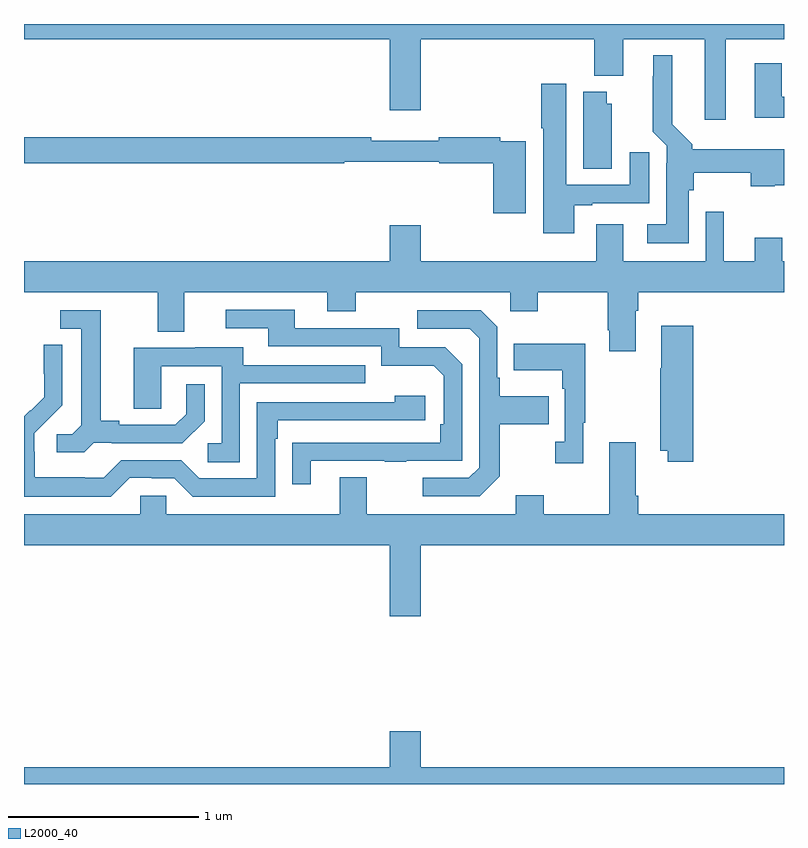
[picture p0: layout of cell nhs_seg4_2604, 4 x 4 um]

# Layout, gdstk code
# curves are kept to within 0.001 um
import gdstk
lib = gdstk.Library(unit=1e-6, precision=1e-09)
def P(c, l, *ps):  # polygons
    for p in ps: c.add(gdstk.Polygon(p, *l))
L2000_40 = (2000, 40)

nhs_seg4_2604 = lib.new_cell('nhs_seg4_2604')
P(nhs_seg4_2604, L2000_40, [(250.693,796.82),(251,796.82),(251,796.9),(247,796.9),(247,796.82),(248.924,796.82),(248.924,796.446),(249.088,796.446),(249.088,796.82),(250.001,796.82),(250.001,796.628),(250.153,796.628),(250.153,796.82),(250.583,796.82),(250.583,796.395),(250.693,796.395)],
  [(250.498,796.026),(250.524,796.026),(250.524,796.118),(250.825,796.118),(250.825,796.046),(250.95,796.046),(250.95,796.052),(251,796.052),(251,796.24),(250.516,796.24),(250.516,796.266),(250.411,796.372),(250.411,796.735),(250.313,796.735),(250.313,796.625),(250.309,796.625),(250.309,796.334),(250.383,796.26),(250.383,796.166),(250.379,796.166),(250.379,795.847),(250.281,795.847),(250.281,795.746),(250.498,795.746)],
  [(251,796.516),(250.987,796.516),(250.987,796.693),(250.847,796.693),(250.847,796.406),(251,796.406)],
  [(249.895,795.945),(249.991,795.945),(249.991,795.957),(250.291,795.957),(250.291,796.225),(250.187,796.225),(250.187,796.053),(249.853,796.053),(249.853,796.585),(249.722,796.585),(249.722,796.351),(249.734,796.351),(249.734,795.798),(249.895,795.798)],
  [(250.093,796.479),(250.066,796.479),(250.066,796.543),(249.944,796.543),(249.944,796.138),(250.093,796.138)],
  [(249.64,796.284),(249.506,796.284),(249.506,796.304),(249.184,796.304),(249.184,796.285),(248.828,796.285),(248.828,796.304),(247,796.304),(247,796.168),(248.686,796.168),(248.686,796.176),(249.186,796.176),(249.186,796.168),(249.47,796.168),(249.47,795.903),(249.64,795.903)],
  [(250.219,795.392),(250.232,795.392),(250.232,795.488),(251,795.488),(251,795.652),(250.991,795.652),(250.991,795.776),(250.847,795.776),(250.847,795.652),(250.684,795.652),(250.684,795.913),(250.587,795.913),(250.587,795.652),(250.153,795.652),(250.153,795.847),(250.013,795.847),(250.013,795.652),(249.088,795.652),(249.088,795.841),(248.924,795.841),(248.924,795.652),(247,795.652),(247,795.488),(247.703,795.488),(247.703,795.28),(247.843,795.28),(247.843,795.488),(248.597,795.488),(248.597,795.389),(248.745,795.389),(248.745,795.488),(249.558,795.488),(249.558,795.389),(249.705,795.389),(249.705,795.488),(250.072,795.488),(250.072,795.289),(250.079,795.289),(250.079,795.177),(250.219,795.177)],
  [(248.509,794.601),(248.899,794.601),(248.899,794.596),(249.011,794.596),(249.011,794.601),(249.306,794.601),(249.306,795.108),(249.216,795.198),(248.976,795.198),(248.976,795.3),(248.425,795.3),(248.425,795.396),(248.061,795.396),(248.061,795.3),(248.285,795.3),(248.285,795.204),(248.88,795.204),(248.88,795.101),(249.157,795.101),(249.21,795.048),(249.21,794.794),(249.19,794.794),(249.19,794.697),(248.413,794.696),(248.413,794.478),(248.509,794.478)],
  [(249.505,794.521),(249.505,794.794),(249.761,794.794),(249.761,794.941),(249.505,794.941),(249.505,795.037),(249.492,795.037),(249.492,795.306),(249.405,795.393),(249.069,795.393),(249.069,795.297),(249.345,795.297),(249.396,795.246),(249.396,794.565),(249.342,794.511),(249.099,794.511),(249.099,794.415),(249.399,794.415)],
  [(247.368,794.697),(247.462,794.697),(247.462,794.694),(247.834,794.694),(247.95,794.81),(247.95,795.004),(247.853,795.004),(247.853,794.847),(247.796,794.79),(247.501,794.79),(247.501,794.813),(247.405,794.813),(247.405,795.393),(247.191,795.393),(247.191,795.297),(247.301,795.297),(247.301,794.789),(247.254,794.742),(247.173,794.742),(247.173,794.645),(247.316,794.645)],
  [(250.523,795.313),(250.355,795.313),(250.355,795.089),(250.348,795.089),(250.348,794.654),(250.388,794.654),(250.388,794.595),(250.523,794.595)],
  [(249.943,794.801),(249.955,794.801),(249.955,795.217),(249.577,795.217),(249.577,795.077),(249.834,795.077),(249.834,794.981),(249.846,794.981),(249.846,794.702),(249.795,794.702),(249.795,794.589),(249.943,794.589)],
  [(247.557,794.511),(247.673,794.511),(247.673,794.508),(247.791,794.508),(247.887,794.412),(248.322,794.412),(248.322,794.717),(248.335,794.717),(248.335,794.814),(249.112,794.814),(249.112,794.944),(248.951,794.944),(248.951,794.91),(248.226,794.91),(248.226,794.508),(247.923,794.508),(247.827,794.604),(247.512,794.604),(247.419,794.511),(247.319,794.511),(247.319,794.515),(247.056,794.515),(247.056,794.649),(247.054,794.649),(247.054,794.746),(247.2,794.894),(247.2,795.212),(247.104,795.212),(247.104,795.058),(247.106,795.058),(247.106,794.936),(247.035,794.865),(247.032,794.868),(247,794.836),(247,794.411),(247.457,794.411)],
  [(248.136,795.009),(248.795,795.009),(248.795,795.105),(248.155,795.105),(248.155,795.199),(247.901,795.199),(247.901,795.195),(247.577,795.195),(247.577,794.875),(247.722,794.875),(247.722,795.099),(248.04,795.099),(248.04,794.694),(247.968,794.694),(247.968,794.593),(248.136,794.593)],
  [(249.088,794.156),(251,794.156),(251,794.32),(250.232,794.32),(250.232,794.416),(250.219,794.416),(250.219,794.698),(250.079,794.698),(250.079,794.32),(249.735,794.32),(249.735,794.419),(249.587,794.419),(249.587,794.32),(248.803,794.32),(248.803,794.515),(248.663,794.515),(248.663,794.32),(247.749,794.32),(247.749,794.418),(247.611,794.418),(247.611,794.32),(247,794.32),(247,794.156),(248.924,794.156),(248.924,793.782),(249.088,793.782)],
  [(251,792.988),(249.088,792.988),(249.088,793.177),(248.924,793.177),(248.924,792.988),(247,792.988),(247,792.9),(251,792.9)])

lib.write_gds('nhs_seg4_2604.gds')
